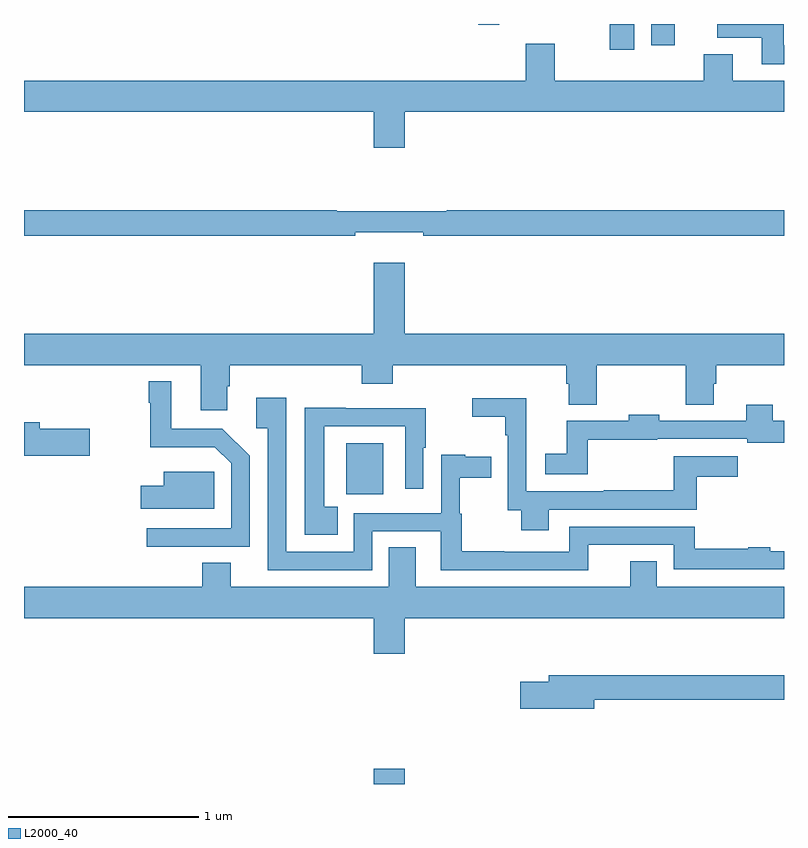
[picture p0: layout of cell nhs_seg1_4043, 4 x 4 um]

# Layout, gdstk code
import gdstk
lib = gdstk.Library(unit=1e-6, precision=1e-09)
def R(c, l, rs):  # rectangles x0, y0, x1, y1
    for r in rs: c.add(gdstk.rectangle(r[:2], r[2:], *l))
def P(c, l, *ps):  # polygons
    for p in ps: c.add(gdstk.Polygon(p, *l))
L2000_40 = (2000, 40)

nhs_seg1_4043 = lib.new_cell('nhs_seg1_4043')
R(nhs_seg1_4043, L2000_40, [(332.84,544.199,333.004,544.279), (332.696,545.724,332.89,545.992), (334.082,548.064,334.213,548.199), (334.301,548.088,334.426,548.199), (333.39,548.194,333.502,548.199)])
P(nhs_seg1_4043, L2000_40, [(335,548.088),(334.999,548.088),(334.999,548.199),(334.648,548.199),(334.648,548.126),(334.883,548.126),(334.883,547.986),(335,547.986)],
  [(333.004,547.736),(335,547.736),(335,547.9),(334.729,547.9),(334.729,548.041),(334.577,548.041),(334.577,547.9),(333.793,547.9),(333.793,548.095),(333.641,548.095),(333.641,547.9),(331,547.9),(331,547.736),(332.84,547.736),(332.84,547.548),(333.004,547.548)],
  [(332.744,547.103),(333.1,547.103),(333.1,547.084),(335,547.084),(335,547.22),(333.226,547.22),(333.226,547.213),(332.645,547.213),(332.645,547.22),(331,547.22),(331,547.084),(332.744,547.084)],
  [(331,546.404),(331.931,546.404),(331.931,546.165),(332.071,546.165),(332.071,546.293),(332.084,546.293),(332.084,546.404),(332.777,546.404),(332.777,546.305),(332.942,546.305),(332.942,546.404),(333.854,546.404),(333.854,546.306),(333.866,546.306),(333.866,546.196),(334.014,546.196),(334.014,546.404),(334.483,546.404),(334.483,546.196),(334.63,546.196),(334.63,546.306),(334.643,546.306),(334.643,546.404),(335,546.404),(335,546.568),(333.004,546.568),(333.004,546.943),(332.84,546.943),(332.84,546.568),(331,546.568)],
  [(332.187,545.926),(332.044,546.069),(331.774,546.069),(331.774,546.319),(331.657,546.319),(331.657,546.206),(331.665,546.206),(331.665,545.972),(332.005,545.972),(332.091,545.886),(332.091,545.544),(331.647,545.544),(331.647,545.448),(332.187,545.448)],
  [(332.832,545.529),(333.194,545.529),(333.194,545.325),(333.969,545.325),(333.969,545.457),(334.419,545.457),(334.419,545.328),(335,545.328),(335,545.424),(334.928,545.424),(334.928,545.444),(334.812,545.444),(334.812,545.437),(334.531,545.437),(334.531,545.553),(333.87,545.553),(333.87,545.421),(333.527,545.421),(333.527,545.424),(333.304,545.424),(333.304,545.622),(333.294,545.622),(333.294,545.811),(333.46,545.811),(333.46,545.921),(333.323,545.921),(333.323,545.932),(333.195,545.932),(333.195,545.625),(332.736,545.625),(332.736,545.421),(332.379,545.421),(332.379,546.232),(332.223,546.232),(332.223,546.071),(332.283,546.071),(332.283,545.325),(332.832,545.325)],
  [(333.763,545.643),(334.54,545.643),(334.54,545.817),(334.756,545.817),(334.756,545.925),(334.419,545.925),(334.419,545.744),(334.051,545.744),(334.051,545.739),(333.644,545.739),(333.644,546.229),(333.36,546.229),(333.36,546.131),(333.534,546.131),(333.534,546.035),(333.546,546.035),(333.546,545.641),(333.616,545.641),(333.616,545.534),(333.763,545.534)],
  [(333.967,546.01),(334.332,546.01),(334.332,546.015),(334.806,546.015),(334.806,545.995),(335,545.995),(335,546.111),(334.942,546.111),(334.942,546.196),(334.802,546.196),(334.802,546.111),(334.344,546.111),(334.344,546.142),(334.184,546.142),(334.184,546.111),(333.857,546.111),(333.857,545.938),(333.744,545.938),(333.744,545.828),(333.967,545.828)],
  [(332.651,545.657),(332.581,545.657),(332.581,546.081),(333.006,546.081),(333.006,545.754),(333.102,545.754),(333.102,545.97),(333.115,545.97),(333.115,546.177),(332.693,546.177),(332.693,546.18),(332.477,546.18),(332.477,545.51),(332.651,545.51)],
  [(331.345,546.069),(331.084,546.069),(331.084,546.103),(331,546.103),(331,545.927),(331.345,545.927)],
  [(332.001,545.842),(331.736,545.842),(331.736,545.77),(331.614,545.77),(331.614,545.648),(332.001,545.648)],
  [(333.004,545.072),(335,545.072),(335,545.236),(334.33,545.236),(334.33,545.372),(334.19,545.372),(334.19,545.236),(333.061,545.236),(333.061,545.444),(332.921,545.444),(332.921,545.236),(332.089,545.236),(332.089,545.363),(331.937,545.363),(331.937,545.236),(331,545.236),(331,545.072),(332.84,545.072),(332.84,544.884),(333.004,544.884)],
  [(334,544.642),(335,544.642),(335,544.771),(333.761,544.771),(333.761,544.737),(333.612,544.737),(333.612,544.595),(334,544.595)])

lib.write_gds('nhs_seg1_4043.gds')
